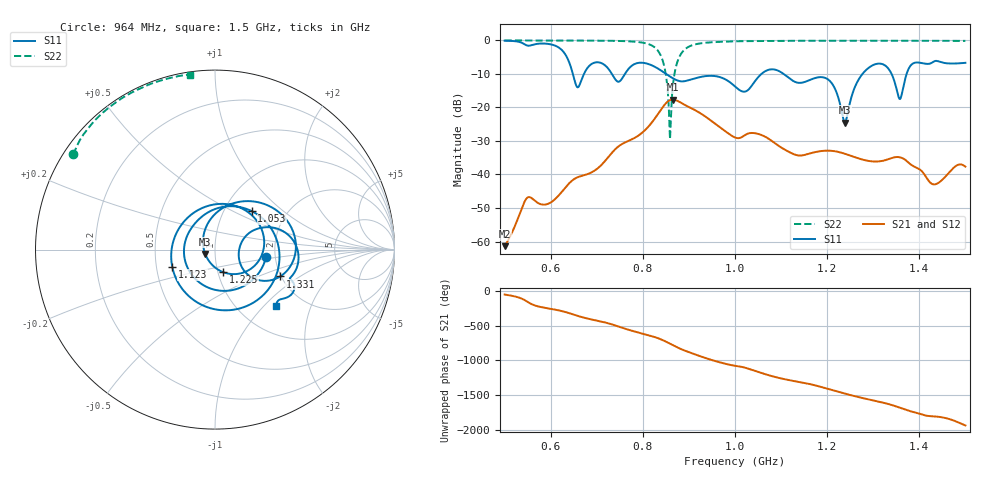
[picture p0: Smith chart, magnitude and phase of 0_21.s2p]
! TOUCHSTONE file generated by CST MICROWAVE STUDIO
! Date and time: Sat Oct 24 10:45:41 2020
! Project name: Scenario_1_Planar_Body_Tissue_Center.cst
! Parameters = {hfat=3; hmuscle=50; hskin=1.5; hgap=25; Wtissue=700; Ltissue=700; L_HA=400; MT=2.54; Rad_Dielectric=30; Rad_Lower=7.3; Rad_Upper=30; a_HA=580; a_WG=246; b_HA=500; b_WG=121; c_HA=0; c_WG=187; d_feed=85; dx1=519.4; h_feed=15; h_lower=18; h_upper=40}
! Header version: 2018
! Port assignment regex: !\s*Touchstone port\s*([0-9]+)\s*=\s*(CST MWS port|CST DS port)\s*([0-9]+|Zmin|Zmax)\s*\(\"(.*)\"\)(\s*mode\s*([0-9]+))?.*
! Touchstone port assignment:
! Touchstone port 1 = CST MWS port 1 ("")
! Touchstone port 2 = CST MWS port 2 ("")
# GHz S DB R 50
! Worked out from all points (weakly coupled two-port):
!   1003 points, 500 MHz to 1.5 GHz, reference 50 ohm
!   highest |S21| = -17.65 dB at 865 MHz (marker M1); lowest = -61.4 dB at 500 MHz (marker M2)
!   lowest |S11| = -24.5 dB at 1.238 GHz (marker M3), VSWR 1.13, Z = 44.8 - j2.17 ohm
!   |S11| at or under -10 dB: 850.6 MHz to 1.057 GHz (206.7 MHz wide, 21.7 % of centre); 1.106 GHz to 1.277 GHz (171.1 MHz wide, 14.4 % of centre); 1.34 GHz to 1.372 GHz (32.59 MHz wide, 2.4 % of centre) (the widest 3 of 5)
!   |S22| runs from -29.5 to 0.0 dB; largest |S21 - S12| = 2.5e-05
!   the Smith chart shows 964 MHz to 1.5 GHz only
!   S11 on the Smith chart (normalised r, x): 964 MHz: 1.79, -0.15; 1.053 GHz: 1.34, +0.63; 1.123 GHz: 0.61, -0.12; 1.225 GHz: 1.06, -0.27; 1.331 GHz: 1.98, -0.70; 1.5 GHz: 1.46, -1.18
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0.5  -0.07 -122.0  -61.39 -47.6  -61.39 -47.6  -0.01 151.1
0.549  -1.52 -145.7  -46.95 -150.0  -46.95 -150.0  -0.01 147.8
0.63  -3.81 146.0  -44.21 63.8  -44.21 63.8  -0.03 141.7
0.667  -11.76 178.9  -40.43 -12.4  -40.43 -12.4  -0.04 138.4
0.741  -11.76 9.7  -32.34 -136.0  -32.34 -136.0  -0.14 129.1
0.787  -6.79 164.5  -28.69 129.8  -28.69 129.8  -0.43 118.1
0.834  -8.50 44.9  -21.72 38.9  -21.72 38.9  -3.31 85.0
0.858  -10.68 -26.9  -17.88 -35.1  -17.88 -35.1  -26.43 0.7
0.865  -11.28 -50.8  -17.65 -59.6  -17.65 -59.6  -13.72 -139.3
0.902  -11.76 172.4  -20.00 -164.6  -20.00 -164.6  -1.71 168.0
0.964  -10.82 -7.8  -25.58 58.7  -25.58 58.7  -0.44 146.1
1  -13.73 -111.3  -28.95 3.1  -28.95 3.1  -0.26 140.4
1.053  -10.57 46.3  -28.00 -91.1  -28.00 -91.1  -0.17 134.2
1.123  -11.81 -158.2  -33.66 148.6  -33.66 148.6  -0.11 127.8
1.167  -11.54 71.2  -33.55 92.2  -33.55 92.2  -0.10 124.3
1.225  -17.45 -69.9  -33.29 -14.1  -33.29 -14.1  -0.08 119.8
1.238  -24.50 -156.1  -33.79 -38.1  -33.79 -38.1  -0.08 118.8
1.331  -8.11 -22.3  -35.52 174.4  -35.52 174.4  -0.08 111.8
1.334  -8.62 -26.4  -35.38 169.0  -35.38 169.0  -0.08 111.6
1.358  -17.49 -4.1  -34.88 116.6  -34.88 116.6  -0.09 109.7
1.388  -6.76 0.2  -37.57 54.5  -37.57 54.5  -0.09 107.4
1.5  -6.68 -43.0  -37.65 -138.6  -37.65 -138.6  -0.13 98.0
